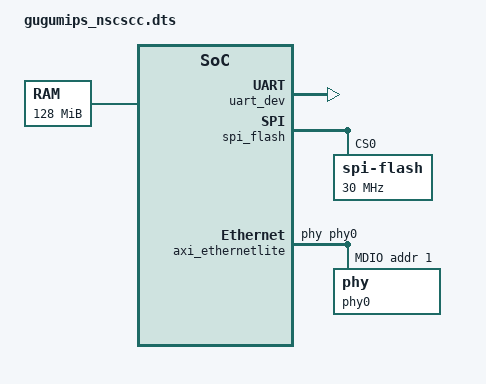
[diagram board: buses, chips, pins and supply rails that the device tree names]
/dts-v1/;

#include "microAptiv.dtsi"

/ {
	compatible = "nscscc,fpga-a7";

	memory {
		device_type = "memory";
		reg = <0x0 0x8000000>;
	};

	cpuintc: interrupt-controller@0 {
		#address-cells = <0>;
		#interrupt-cells = <1>;
		interrupt-controller;
		compatible = "mti,cpu-interrupt-controller";
	};

	aliases {
		console = &uart_dev;
		spi0 = &spi_flash;
		eth = &axi_ethernetlite;
	};

	uart_dev: serial@bfd00000 {
		compatible = "xlnx,xps-uartlite-1.00.a";
		reg = <0xbfd00000 0x1000>;
		interrupts = <4 0>;
	};

	spi_flash: spi@bf900000 {
        #address-cells = <1>;
        #size-cells = <0>;
		compatible = "xlnx,xps-spi-2.00.a";
		reg = <0xbf900000 0x1000>;
		fifo-size = <256>;
		xlnx,spi-mode = <0>;

        spi-flash@0 {
            compatible = "spi-flash", "jedec,spi-nor";
            reg = <0>;
            spi-max-frequency = <30000000>;
        };
	};

	axi_ethernetlite: ethernet@bfb00000 {
		compatible = "xlnx,xps-ethernetlite-1.00.a";
		device_type = "network";
		local-mac-address = [02 02 03 03 03 03];
		phy-handle = <&phy0>;
		reg = <0xbfb00000 0x10000>;
		xlnx,duplex = <0x1>;
		xlnx,include-global-buffers = <0x1>;
		xlnx,include-internal-loopback = <0x0>;
		xlnx,include-mdio = <0x1>;
		xlnx,instance = "axi_ethernetlite_inst";
		xlnx,rx-ping-pong = <0x1>;
		xlnx,s-axi-id-width = <0x1>;
		xlnx,tx-ping-pong = <0x1>;
		xlnx,use-internal = <0x0>;
		mdio {
				#address-cells = <1>;
				#size-cells = <0>;
				phy0: phy@1 {
						device_type = "ethernet-phy";
						reg = <1>;
				} ;
		} ;
	};
};

